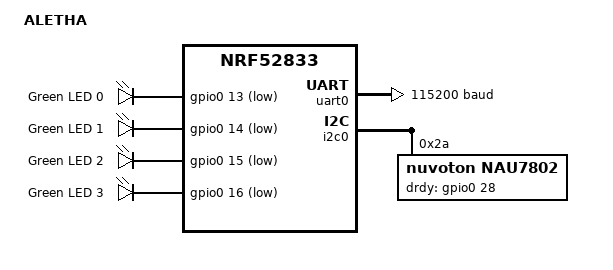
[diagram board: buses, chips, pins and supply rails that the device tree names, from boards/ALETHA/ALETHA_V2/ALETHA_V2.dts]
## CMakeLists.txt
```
cmake_minimum_required(VERSION 3.20.0)

# list(APPEND ZEPHYR_EXTRA_MODULES "${CMAKE_CURRENT_SOURCE_DIR}/drivers")
set(ZEPHYR_EXTRA_MODULES "${CMAKE_SOURCE_DIR}/modules/NAU7802")

find_package(Zephyr REQUIRED HINTS $ENV{ZEPHYR_BASE})

project(test_nau7802)

target_sources(app PRIVATE 
                src/main.c
                src/loadcell.c)

# zephyr_library_include_directories(.)

# include_directories(${CMAKE_SOURCE_DIR}/src)
```

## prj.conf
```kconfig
# Config logger
CONFIG_LOG=y

# Sensor
CONFIG_SENSOR=y

CONFIG_I2C=y

CONFIG_LOG=y
CONFIG_LOG_DEFAULT_LEVEL=3

# Enable logging
CONFIG_LOG_MODE_IMMEDIATE=y

# Enable UART backend for logging
CONFIG_LOG_BACKEND_UART=y

# Enable UART
CONFIG_SERIAL=y
CONFIG_UART_CONSOLE=y

# Config logger
CONFIG_LOG=y

CONFIG_REQUIRES_FLOAT_PRINTF=y
CONFIG_CBPRINTF_FP_SUPPORT=y

CONFIG_NAU7802=y
# # Interrut triggerred configurations
CONFIG_NAU7802_TRIGGER_NONE=y
CONFIG_NAU7802_TRIGGER_OWN_THREAD=y
CONFIG_NAU7802_TRIGGER_GLOBAL_THREAD=y
CONFIG_NAU7802_TRIGGER_DIRECT=y
```

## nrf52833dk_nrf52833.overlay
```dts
// To get started, press Ctrl+Space to bring up the completion menu and view the available nodes.

// You can also use the buttons in the sidebar to perform actions on nodes.
// Actions currently available include:

// * Enabling / disabling the node
// * Adding the bus to a bus
// * Removing the node
// * Connecting ADC channels

// For more help, browse the DeviceTree documentation at https://docs.zephyrproject.org/latest/guides/dts/index.html
// You can also visit the nRF DeviceTree extension documentation at https://docs.nordicsemi.com/bundle/nrf-connect-vscode/page/guides/ncs_configure_app.html#devicetree-support-in-the-extension

&i2c0 {
    status = "okay";
    compatible = "nordic,nrf-twim";
    nau7802: nau7802@2a {
        compatible = "nuvoton,nau7802";
        reg = <0x2a>;
        drdy-gpios = <&gpio0 28 GPIO_ACTIVE_HIGH>;
        conversions-per-second = <80>; //SPS (Tốc độ lấy mẫu ADC: 320 mẫu / giây (320 SPS))
        gain = <128>;
    };
};
```

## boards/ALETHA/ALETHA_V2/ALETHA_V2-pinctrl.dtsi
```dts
&pinctrl {
    uart0_default: uart0_default {
		group1 {
			psels = <NRF_PSEL(UART_TX, 0, 6)>,
				<NRF_PSEL(UART_RTS, 0, 5)>;
		};
		group2 {
			psels = <NRF_PSEL(UART_RX, 0, 8)>,
				<NRF_PSEL(UART_CTS, 0, 7)>;
			bias-pull-up;
		};
	};

	uart0_sleep: uart0_sleep {
		group1 {
			psels = <NRF_PSEL(UART_TX, 0, 6)>,
				<NRF_PSEL(UART_RX, 0, 8)>,
				<NRF_PSEL(UART_RTS, 0, 5)>,
				<NRF_PSEL(UART_CTS, 0, 7)>;
			low-power-enable;
		};   
    };

    i2c0_default: i2c0_default {
        group1 {
            psels = <NRF_PSEL(TWIM_SDA, 0, 26)>,
                <NRF_PSEL(TWIM_SCL, 0, 27)>;
        };
    };

    i2c0_sleep: i2c0_sleep {
        group1 {
            psels = <NRF_PSEL(TWIM_SDA, 0, 26)>,
                <NRF_PSEL(TWIM_SCL, 0, 27)>;
            low-power-enable;
        };
    };
};
```

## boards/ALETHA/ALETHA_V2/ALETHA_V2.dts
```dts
/dts-v1/;
#include <nordic/nrf52833_qiaa.dtsi>
#include "ALETHA_V2-pinctrl.dtsi"

/ {
	model = "ALETHA";
	compatible = "ALETHA,ALETHA-V2";

	chosen {
		zephyr,sram = &sram0;
		zephyr,flash = &flash0;
		zephyr,code-partition = &slot0_partition;
		zephyr,console =  &uart0 ;
		zephyr,shell-uart =  &uart0 ;
		zephyr,uart-mcumgr = &uart0;
	};

	leds {
		compatible = "gpio-leds";
		led0: led_0 {
			gpios = <&gpio0 13 GPIO_ACTIVE_LOW>;
			label = "Green LED 0";
		};
		led1: led_1 {
			gpios = <&gpio0 14 GPIO_ACTIVE_LOW>;
			label = "Green LED 1";
		};
		led2: led_2 {
			gpios = <&gpio0 15 GPIO_ACTIVE_LOW>;
			label = "Green LED 2";
		};
		led3: led_3 {
			gpios = <&gpio0 16 GPIO_ACTIVE_LOW>;
			label = "Green LED 3";
		};
	};
	
	aliases {
		led0 = &led0;
		led1 = &led1;
		led2 = &led2;
		led3 = &led3;
	};		

};

&flash0 {
	partitions {
		compatible = "fixed-partitions";
		#address-cells = <1>;
		#size-cells = <1>;

		boot_partition: partition@0 {
			label = "mcuboot";
			reg = <0x00000000 DT_SIZE_K(48)>;
		};

		slot0_partition: partition@c000 {
			label = "image-0";
			reg = <0x0000c000 DT_SIZE_K(220)>;
		};

		slot1_partition: partition@43000 {
			label = "image-1";
			reg = <0x00043000 DT_SIZE_K(220)>;
		};

		storage_partition: partition@7a000 {
			label = "storage";
			reg = <0x0007a000 DT_SIZE_K(24)>;
		};
	};
};

&gpiote {
	status = "okay";
};

&gpio0 {
	status = "okay";
};

&gpio1 {
	status = "okay";
};

&uart0 {
	compatible = "nordic,nrf-uarte";
	status = "okay";
	current-speed = <115200>;
	pinctrl-0 = <&uart0_default>;
	pinctrl-1 = <&uart0_sleep>;
	pinctrl-names = "default", "sleep";
};

&i2c0 {
	compatible = "nordic,nrf-twi";
	status = "okay";
	pinctrl-0 = <&i2c0_default>;
	pinctrl-1 = <&i2c0_sleep>;
	pinctrl-names = "default", "sleep";
	
	nau7802: nau7802@2a {
        compatible = "nuvoton,nau7802";
        reg = <0x2a>;
        drdy-gpios = <&gpio0 28 GPIO_ACTIVE_HIGH>;
        conversions-per-second = <80>; //SPS (Tốc độ lấy mẫu ADC: 320 mẫu / giây (320 SPS))
        gain = <128>;
    };
};
```

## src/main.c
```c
#include <zephyr/kernel.h>
#include <zephyr/drivers/gpio.h>
#include <zephyr/drivers/sensor.h>
#include <zephyr/drivers/i2c.h>
#include <zephyr/logging/log.h>
#include <zephyr/device.h>

#include "loadcell.h"


LOG_MODULE_REGISTER(main_logging);

int main(void)
{
    int ret = initialize_load_cell();
    if (ret) {
        LOG_ERR("Loadcell init failed: %d", ret);
        return;
    }

    // LOG_INF("== PLACE CALIBRATION WEIGHT (e.g. 196g) ON THE LOADCELL ==");
    // k_sleep(K_SECONDS(5)); // Đợi đặt vật chuẩn

    // sensors_calibration(196.0f);

    LOG_INF("== Calibration done. Now measuring weight ==");
    k_sleep(K_MSEC(500));

    while (1) {
        // int32_t value = sensors_read_load_cell();
        // LOG_INF("Loadcell digital value (zeroed): %d g\n", value);
        float weight = sensors_read_weight();
        LOG_INF("Loadcell measured: %.2f gram", weight);
        k_msleep(1000);
    }

    return 0;
}
```

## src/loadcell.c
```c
#include <zephyr/kernel.h>
#include <zephyr/drivers/sensor.h>
#include <zephyr/logging/log.h>
#include "loadcell.h"
#include "../drivers/sensor/nau7802/nau7802.h"

LOG_MODULE_REGISTER(loadcell, CONFIG_LOG_DEFAULT_LEVEL);

static const struct device *const nau7802 = DEVICE_DT_GET_ONE(nuvoton_nau7802);

static int32_t zero_offset = 0;

static float calibration_factor = 1.0f;
// static const float calibration_factor = KNOWN_DELTA_DIGITAL / KNOWN_WEIGHT_GRAM;

int initialize_load_cell(void)
{
	if (!nau7802) {
		LOG_ERR("NAU7802 not found");
		return -ENODEV;
	}
	if (!device_is_ready(nau7802)) {
		LOG_ERR("NAU7802 device %s is not ready", nau7802->name);
		return -EIO;
	}

	k_msleep(500); // wait for startup stabilization

	LOG_DBG("Device is %p, name is %s", nau7802, nau7802->name);

	LOG_INF("NAU7802: Calculating tare...");

    int ret = nau7802_tare(nau7802, 10);
    if (ret == -EIO || ret == -ENODEV) {
    LOG_ERR("NAU7802 tare failed: %d", ret);
    return ret;
    }

    calibration_factor = (KNOWN_DIGITAL_READING_WEIGHT - zero_offset) / KNOWN_WEIGHT_GRAM;
    LOG_INF("Calibration factor updated: %f (count/gram)", calibration_factor);

	LOG_INF("NAU7802 succesfully initialized");
	return 0;
}

int nau7802_tare(const struct device *dev, uint8_t readings)
{
    int64_t avg = 0;
    struct sensor_value val;

    if (readings == 0) {
        readings = 1;
    }

    for (int i = 0; i < readings; i++) {
        //Fetch a sample from the sensor
        int ret = sensor_sample_fetch(dev);
        if (ret) {
            LOG_ERR("Failed to fetch sensor sample at %d", i);
            return ret;
        }

        //Get a reading from a sensor device
        ret = sensor_channel_get(dev, SENSOR_CHAN_FORCE, &val);
        if (ret) {
            LOG_ERR("Failed to get sensor value at %d", i);
            return ret;
        }

        avg += val.val1;
        k_msleep(10); // sleep to stabilize ADC
    }

    //Calculate the average value: sum of values ​​divided by number of readings
    zero_offset = avg / readings;
    LOG_INF("Tare complete, zero offset: %d", zero_offset);

    return zero_offset;
}

int32_t nau7802_measure(void)
{
    struct sensor_value val;

    //Fetch a sample from the sensor
    int ret = sensor_sample_fetch(nau7802);
    if (ret) {
        LOG_ERR("Failed to fetch sensor sample");
        return 0;
    }

    //Get a reading from a sensor device
    ret = sensor_channel_get(nau7802, SENSOR_CHAN_FORCE, &val);
    if (ret) {
        // LOG_ERR("Failed to get sensor value");
        LOG_ERR("Failed to get sensor value, ret = %d", ret);
        return 0;
    }
    return val.val1;
}

int32_t sensors_read_load_cell(void)
{
	int32_t loadcell_value = nau7802_measure();
    // If the reading is negative (due to noise/error), consider it as 0:
    if (loadcell_value < 0.0f) {
        loadcell_value = 0.0f;
    }
    return loadcell_value;
}

/**
 * Calibration: đặt vật chuẩn lên, nhập trọng lượng (gram),
 * tính calibration_factor (số count/gram).
 */

// void sensors_calibration(float known_weight_gram)
// {
//     int32_t reading_with_weight = nau7802_measure();
//     int32_t delta = reading_with_weight - zero_offset;
//     if (known_weight_gram > 0.0f && delta != 0) {
//         calibration_factor = (float)delta / known_weight_gram;
//         LOG_INF("Calibration done! calibration_factor = %f (count/gram)", calibration_factor);
//     } else {
//         LOG_ERR("Calibration failed! Check weight and sensor readings.");
//     }
// }

/**
 * Đọc trọng lượng sau khi đã calibration, trả về đơn vị gram.
 */

float sensors_read_weight(void)
{
    int32_t reading = nau7802_measure();

    LOG_INF("Reading digital: %d", reading);
    LOG_INF("Zero offset: %d", zero_offset);
    LOG_INF("Calibration weight: %.2f", calibration_factor);

    float weight = (reading - zero_offset) / calibration_factor;
    if (weight < 0.0f || reading <= 0.0f) {
        weight = 0.0f;
    }
    return weight;
}
```

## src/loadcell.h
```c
#ifndef LOADCELL_H
#define LOADCELL_H

#include <zephyr/kernel.h>
#include <zephyr/drivers/sensor.h>

#ifdef __cplusplus
extern "C" {
#endif

#define KNOWN_WEIGHT_GRAM    196.0f
#define KNOWN_DIGITAL_READING_WEIGHT  15000.0f

/**
 * @brief Initialize the NAU7802 load cell sensor.
 *
 * This function checks if the NAU7802 device is present and ready,
 * waits for sensor stabilization, and performs an initial tare
 * (zeroing) to set the zero offset.
 *
 * @retval 0 on success
 * @retval negative error code on failure
 */
int initialize_load_cell(void);


/**
 * @brief Perform tare (zero offset) for the NAU7802 load cell.
 *
 * This function repeatedly samples the load cell sensor for a number of times
 * (specified by @p readings), calculates the average, and sets it as the zero offset.
 * Use this function to recalibrate the zero point (tare) at any time.
 *
 * @param dev      Pointer to the NAU7802 device structure
 * @param readings Number of samples to average (recommended: 5~20)
 *
 * @retval The calculated zero offset value on success
 * @retval negative error code on failure
 */
int nau7802_tare(const struct device *dev, uint8_t readings);

/**
 * @brief Get the current load cell value after offset correction.
 *
 * @retval The digital reading (zeroed) from load cell.
 */
int32_t nau7802_measure(void);

int32_t sensors_read_load_cell(void);

void sensors_calibration(float known_weight_gram);

float sensors_read_weight(void);

#ifdef __cplusplus
}
#endif

#endif // LOADCELL_H
```
